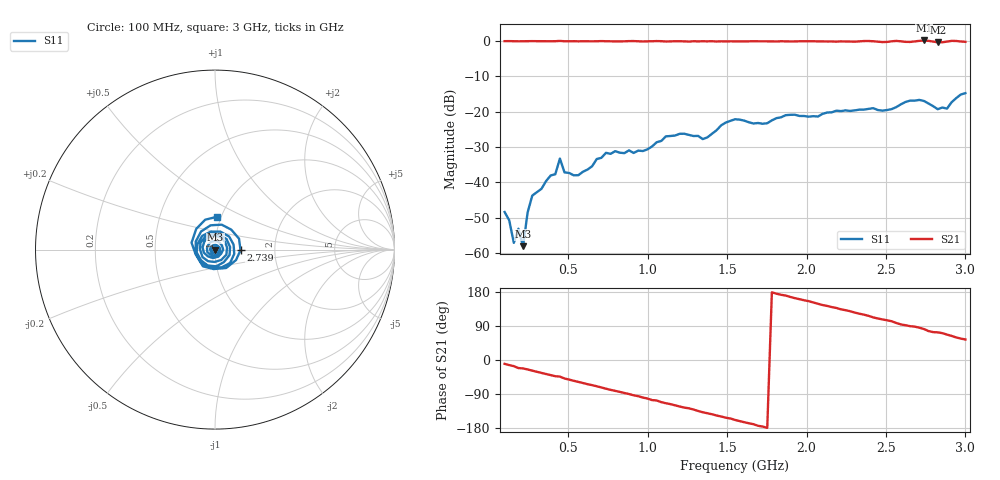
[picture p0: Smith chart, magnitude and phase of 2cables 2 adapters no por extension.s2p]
# HZ S RI R 50
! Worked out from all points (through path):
!   101 points, 100 MHz to 3 GHz, reference 50 ohm
!   highest |S21| = 0.18 dB at 2.739 GHz (marker M1); lowest = -0.3 dB at 2.826 GHz (marker M2)
!   group delay of S21, straight-line fit = 283 ps
!   lowest |S11| = -58.1 dB at 216 MHz (marker M3), VSWR 1.00, Z = 50.1 - j0.000902 ohm
!   |S11| at or under -10 dB: start of sweep to end of sweep
!   S12 and S22 are empty: the file has one direction only
!   S11 on the Smith chart (normalised r, x): 100 MHz: 1.01, -0.00; 2.739 GHz: 1.33, -0.01; 3 GHz: 0.96, +0.36
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1e8  0.00297 -0.00239  0.9824 -0.1777  0 0  0 0
1.58e8  -0.00032 -0.00136  0.957 -0.2802  0 0  0 0
1.87e8  0.000106 0.00221  0.9255 -0.3601  0 0  0 0
2.16e8  0.00125 -9e-06  0.9218 -0.3775  0 0  0 0
2.74e8  0.00583 -0.00287  0.8817 -0.4703  0 0  0 0
4.19e8  -0.011 -0.00704  0.7321 -0.6771  0 0  0 0
4.48e8  -0.0216 0.0025  0.7266 -0.6957  0 0  0 0
4.77e8  -0.0128 0.00534  0.656 -0.7495  0 0  0 0
5.93e8  0.0134 0.0046  0.4873 -0.8681  0 0  0 0
7.38e8  -0.0173 -0.0197  0.2439 -0.9655  0 0  0 0
1.086e9  -0.0284 -0.0262  -0.3611 -0.9298  0 0  0 0
1.347e9  0.034 -0.023  -0.7384 -0.6674  0 0  0 0
1.55e9  -0.0386 0.0681  -0.921 -0.3694  0 0  0 0
2.043e9  0.081 -0.0305  -0.8767 0.4711  0 0  0 0
2.188e9  -0.1023 -0.0158  -0.7229 0.6663  0 0  0 0
2.391e9  0.1071 -0.0243  -0.4465 0.8982  0 0  0 0
2.536e9  -0.107 -0.0205  -0.2112 0.9717  0 0  0 0
2.652e9  0.0371 0.1389  0.0133 0.9729  0 0  0 0
2.739e9  0.1422 -0.00333  0.1475 1.011  0 0  0 0
2.826e9  -0.008 -0.1084  0.2813 0.9201  0 0  0 0
2.913e9  -0.1307 0.0383  0.4472 0.9029  0 0  0 0
3e9  0.0126 0.1829  0.5726 0.7918  0 0  0 0
